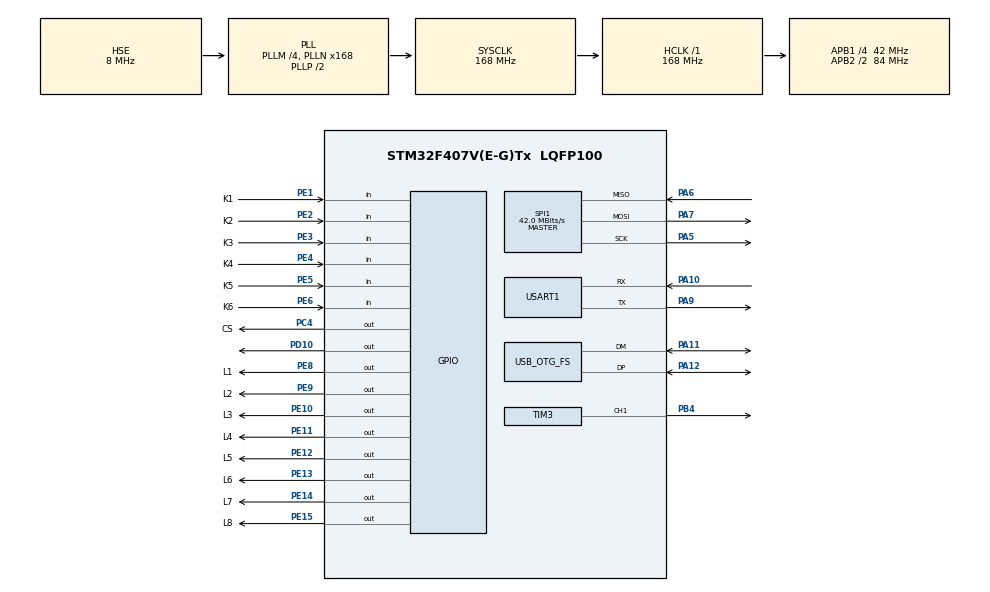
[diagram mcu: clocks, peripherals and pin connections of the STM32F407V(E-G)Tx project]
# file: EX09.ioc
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FATFS._MAX_SS=4096
FREERTOS.Tasks01=defaultTask,24,2048,StartDefaultTask,Default,NULL,Dynamic,NULL,NULL
Mcu.Family=STM32F4
Mcu.Name=STM32F407V(E-G)Tx
Mcu.Package=LQFP100
NVIC.OTG_FS_IRQn=true\:5\:0\:false\:false\:true\:true\:true\:true
NVIC.PriorityGroup=NVIC_PRIORITYGROUP_4
NVIC.TIM7_IRQn=true\:0\:0\:true\:false\:true\:false\:false\:true
NVIC.TimeBase=TIM7_IRQn
NVIC.TimeBaseIP=TIM7
NVIC.USART1_IRQn=true\:5\:0\:false\:false\:true\:true\:true\:true
PA10.Mode=Asynchronous
PA10.Signal=USART1_RX
PA11.Mode=Host_Only
PA11.Signal=USB_OTG_FS_DM
PA12.Mode=Host_Only
PA12.Signal=USB_OTG_FS_DP
PA13.Mode=Serial_Wire
PA13.Signal=SYS_JTMS-SWDIO
PA14.Mode=Serial_Wire
PA14.Signal=SYS_JTCK-SWCLK
PA5.Mode=Full_Duplex_Master
PA5.Signal=SPI1_SCK
PA6.Mode=Full_Duplex_Master
PA6.Signal=SPI1_MISO
PA7.Mode=Full_Duplex_Master
PA7.Signal=SPI1_MOSI
PA9.Mode=Asynchronous
PA9.Signal=USART1_TX
PB4.Signal=S_TIM3_CH1
PC4.GPIO_Label=CS
PC4.Signal=GPIO_Output
PD10.Signal=GPIO_Output
PE1.GPIO_Label=K1
PE1.Signal=GPIO_Input
PE10.GPIO_Label=L3
PE10.GPIO_ModeDefaultOutputPP=GPIO_MODE_OUTPUT_PP
PE10.GPIO_PuPd=GPIO_NOPULL
PE10.GPIO_Speed=GPIO_SPEED_FREQ_LOW
PE10.PinState=GPIO_PIN_SET
PE10.Signal=GPIO_Output
PE11.GPIO_Label=L4
PE11.GPIO_ModeDefaultOutputPP=GPIO_MODE_OUTPUT_PP
PE11.GPIO_PuPd=GPIO_NOPULL
PE11.GPIO_Speed=GPIO_SPEED_FREQ_LOW
PE11.PinState=GPIO_PIN_SET
PE11.Signal=GPIO_Output
PE12.GPIO_Label=L5
PE12.GPIO_ModeDefaultOutputPP=GPIO_MODE_OUTPUT_PP
PE12.GPIO_PuPd=GPIO_NOPULL
PE12.GPIO_Speed=GPIO_SPEED_FREQ_LOW
PE12.PinState=GPIO_PIN_SET
PE12.Signal=GPIO_Output
PE13.GPIO_Label=L6
PE13.GPIO_ModeDefaultOutputPP=GPIO_MODE_OUTPUT_PP
PE13.GPIO_PuPd=GPIO_NOPULL
PE13.GPIO_Speed=GPIO_SPEED_FREQ_LOW
PE13.PinState=GPIO_PIN_SET
PE13.Signal=GPIO_Output
PE14.GPIO_Label=L7
PE14.GPIO_ModeDefaultOutputPP=GPIO_MODE_OUTPUT_PP
PE14.GPIO_PuPd=GPIO_NOPULL
PE14.GPIO_Speed=GPIO_SPEED_FREQ_LOW
PE14.PinState=GPIO_PIN_SET
PE14.Signal=GPIO_Output
PE15.GPIO_Label=L8
PE15.GPIO_ModeDefaultOutputPP=GPIO_MODE_OUTPUT_PP
PE15.GPIO_PuPd=GPIO_NOPULL
PE15.GPIO_Speed=GPIO_SPEED_FREQ_LOW
PE15.PinState=GPIO_PIN_SET
PE15.Signal=GPIO_Output
PE2.GPIO_Label=K2
PE2.GPIO_PuPd=GPIO_PULLUP
PE2.Signal=GPIO_Input
PE3.GPIO_Label=K3
PE3.GPIO_PuPd=GPIO_PULLUP
PE3.Signal=GPIO_Input
PE4.GPIO_Label=K4
PE4.Signal=GPIO_Input
PE5.GPIO_Label=K5
PE5.GPIO_PuPd=GPIO_PULLDOWN
PE5.Signal=GPIO_Input
PE6.GPIO_Label=K6
PE6.GPIO_PuPd=GPIO_PULLDOWN
PE6.Signal=GPIO_Input
PE8.GPIO_Label=L1
PE8.GPIO_ModeDefaultOutputPP=GPIO_MODE_OUTPUT_PP
PE8.GPIO_PuPd=GPIO_NOPULL
PE8.GPIO_Speed=GPIO_SPEED_FREQ_LOW
PE8.PinState=GPIO_PIN_SET
PE8.Signal=GPIO_Output
PE9.GPIO_Label=L2
PE9.GPIO_ModeDefaultOutputPP=GPIO_MODE_OUTPUT_PP
PE9.GPIO_PuPd=GPIO_NOPULL
PE9.GPIO_Speed=GPIO_SPEED_FREQ_LOW
PE9.PinState=GPIO_PIN_SET
PE9.Signal=GPIO_Output
PH0-OSC_IN.Mode=HSE-External-Oscillator
PH0-OSC_IN.Signal=RCC_OSC_IN
PH1-OSC_OUT.Mode=HSE-External-Oscillator
PH1-OSC_OUT.Signal=RCC_OSC_OUT
ProjectManager.HeapSize=0x4000
ProjectManager.StackSize=0x4000
ProjectManager.TargetToolchain=MDK-ARM V5.27
RCC.48MHZClocksFreq_Value=48000000
RCC.AHBFreq_Value=168000000
RCC.APB1CLKDivider=RCC_HCLK_DIV4
RCC.APB1Freq_Value=42000000
RCC.APB1TimFreq_Value=84000000
RCC.APB2CLKDivider=RCC_HCLK_DIV2
RCC.APB2Freq_Value=84000000
RCC.APB2TimFreq_Value=168000000
RCC.CortexFreq_Value=168000000
RCC.HCLKFreq_Value=168000000
RCC.HSE_VALUE=8000000
RCC.HSI_VALUE=16000000
RCC.LSE_VALUE=32768
RCC.PLLM=4
RCC.PLLN=168
RCC.PLLQ=7
RCC.SYSCLKFreq_VALUE=168000000
RCC.SYSCLKSource=RCC_SYSCLKSOURCE_PLLCLK
RCC.VCOOutputFreq_Value=336000000
SH.S_TIM3_CH1.0=TIM3_CH1,PWM Generation1 CH1
SPI1.CalculateBaudRate=42.0 MBits/s
SPI1.Direction=SPI_DIRECTION_2LINES
SPI1.Mode=SPI_MODE_MASTER
SPI1.VirtualType=VM_MASTER
TIM3.AutoReloadPreload=TIM_AUTORELOAD_PRELOAD_DISABLE
TIM3.Channel-PWM\ Generation1\ CH1=TIM_CHANNEL_1
TIM3.Period=2000-1
TIM3.Prescaler=168-1
TIM3.Pulse-PWM\ Generation1\ CH1=1000
USART1.VirtualMode=VM_ASYNC
USB_HOST.BSP.number=1
USB_HOST.USBH_HandleTypeDef-MSC_FS=hUsbHostFS
USB_HOST.USBH_PROCESS_STACK_SIZE-MSC_FS=512
USB_HOST.VirtualModeFS=Msc
USB_HOST0.BSP.STBoard=false
USB_HOST0.BSP.api=Unknown
USB_HOST0.BSP.i2caddr=0
USB_HOST0.BSP.instance=PD10
USB_HOST0.BSP.ip=GPIO
USB_HOST0.BSP.mode=Output
USB_HOST0.BSP.name=Drive_VBUS_FS
USB_HOST0.BSP.solution=PD10
USB_OTG_FS.VirtualMode=Host_Only
USB_OTG_FS.phy_itface=HCD_PHY_EMBEDDED
VP_FATFS_VS_Generic.Mode=User_defined
VP_FATFS_VS_USB.Mode=USB
VP_FREERTOS_VS_CMSIS_V2.Mode=CMSIS_V2
VP_SYS_VS_tim7.Mode=TIM7
VP_TIM3_VS_ClockSourceINT.Mode=Internal
VP_USB_HOST_VS_USB_HOST_MSC_FS.Mode=MSC_FS
board=custom

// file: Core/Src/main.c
/* USER CODE BEGIN Header */
/**
  ******************************************************************************
  * @file           : main.c
  * @brief          : Main program body
  ******************************************************************************
  * @attention
  *
  * Copyright (c) 2021 STMicroelectronics.
  * All rights reserved.
  *
  * This software is licensed under terms that can be found in the LICENSE file
  * in the root directory of this software component.
  * If no LICENSE file comes with this software, it is provided AS-IS.
  *
  ******************************************************************************
  */
/* USER CODE END Header */
#include "main.h"
#include "cmsis_os.h"
#include "fatfs.h"
#include "spi.h"
#include "tim.h"
#include "usart.h"
#include "usb_host.h"
#include "gpio.h"

/* USER CODE BEGIN Includes */
#include "led.h"
#include "InFlash.h"
#include <stdio.h>
#include <stdlib.h>
#include <string.h>
#include "w25qxx.h"

/* USER CODE END Includes */

/* USER CODE BEGIN PD */
#include <stdio.h>
int fputc(int ch, FILE *f)
{
	// 向串口 1 发送一个字符
	HAL_UART_Transmit(&huart1, (uint8_t *)&ch, 1, 100);
	return 0;
}

/* USER CODE END PD */

/* USER CODE BEGIN PV */

//#define USER_APP_ADDR		ADDR_FLASH_SECTOR_6
//#define MAX_RECV_LEN 10000
//uint8_t rx1_buff[MAX_RECV_LEN] = {0};
//uint8_t *pBuf;
//uint8_t line_flag = 0;
//uint32_t recv_tick = 0;

//uint32_t update_tick = 0;
/* USER CODE END PV */

void SystemClock_Config(void);
void MX_FREERTOS_Init(void);

/* USER CODE BEGIN 0 */

void TestW25Q128(void)
{
	uint8_t dat[4096] = "1234567890-1234567890-1234567890-1234567890-1234567890-\0";
	uint8_t read_buf[4096] = {0};
	uint16_t i;
	uint16_t *pDat = (uint16_t *)dat;
	for(i=0;i<sizeof(dat)/2;++i)
	{
		pDat[i] = i*i;
	}

	W25QXX_Init();
	uint16_t device_id = W25QXX_ReadID();
	printf("device_id = 0x%04X\n\r",device_id);

	HAL_Delay(500);

	int j=0;
	uint32_t addr = 0;
	for(j=0;j<1;j++)
	{
		addr = 0x1000 * j;
		// 读扇区
		printf("Read data before write\n\r");
		memset(read_buf,0,sizeof(read_buf));
		W25QXX_Read(read_buf,addr,sizeof(read_buf));
		printf("read data if:\n\r");
		for(i=0;i<sizeof(read_buf);++i)
		{
			printf("%02X ",read_buf[i]);
		}
		printf("\n\r");
		HAL_Delay(20);

		//撤除该扇区
		printf("Erase sector %d\n\r",addr / 0x1000);
		W25QXX_Erase_Sector(addr);
		HAL_Delay(20);

		//写数据
		printf("Write data\n\r");
		W25QXX_Write(dat,addr,sizeof(dat));
		HAL_Delay(20);

		//再次读数据
		printf("Read data after write\n\r");
		memset(read_buf,0,sizeof(dat));
		W25QXX_Read(read_buf,addr,sizeof(read_buf));
		printf("read data is:\n\r");
		for(i=0;i<sizeof(read_buf);++i)
		{
			printf("%02X ",read_buf[i]);
		}
		printf("\n\r");
		HAL_Delay(20);

		uint8_t chkok = 1;
		for(i=0;i<sizeof(dat);++i)
		{
			if(dat[i] != read_buf[i])
			{
				chkok = 0;
				break;
			}
		}
		printf("sector %d write %s!\n\r", addr/0x1000,chkok?"ok":"error");
		if(!chkok)
			break;
	}

}
void fs_test(void)
{
	BYTE work[4096];
	FATFS fs;
	FIL fil;
	FRESULT res;
	UINT i;
	BYTE mm[500];

	res = f_mount(&fs,"0:",1);
	if(res == 0x0D)
	{
		printf("Flash Disk Formatting...\n\r");  //格式化FLASH
		res = f_mkfs("0:",FM_ANY,0,work,sizeof(work));
		if(res != FR_OK)
			printf("mkfs error.\n\r");
	}
	if(res == FR_OK)
		printf("FATFS Init ok!\n\r");

	res = f_open(&fil,"0:/test.txt",FA_CREATE_NEW);
	if(res != FR_OK && res != FR_EXIST)
		printf("create file error.\n\r");
	if(res == FR_EXIST)
		res = f_open(&fil,"0:/test.txt",FA_WRITE|FA_READ|FA_OPEN_APPEND);
	if(res != FR_OK)
		printf("open file error.\n\r");
	else
	{
		printf("open file ok.\n\r");
		f_puts("Hello,World\n\r你好世界\n\r",&fil);
		printf("file size:%ld Bytes.\n\r",f_size(&fil));

		memset(mm,0x0,500);
		f_lseek(&fil,0);
		res = f_read(&fil,mm,500,&i);
		if(res == FR_OK)
			printf("read size:%d Bytes.\n\r%s",i,mm);
		else
			printf("read error!\n\r");

		f_close(&fil);
	}
	/*卸载文件系统*/
	f_mount(0,"0:",0);
}

void InitFS(uint8_t breset)
{
	BYTE work[4096];
	FATFS fs;
	FIL fil;
	FRESULT res;

	res = f_mount(&fs,"0:",1);
	if(res == 0x0D)
	{
		printf("Flash Disk Formatting...\n\r");  //格式化FLASH
		res = f_mkfs("0:",FM_ANY,0,work,sizeof(work));
		if(res != FR_OK)
			printf("mkfs error.\n\r");
	}
	if(res == FR_OK)
		printf("FATFS Init ok!\n\r");
	if(breset)
		res = f_open(&fil,"0:/alarm.txt",FA_CREATE_ALWAYS);
	else
		res = f_open(&fil,"0:/alarm.txt",FA_CREATE_NEW);
	if(res != FR_OK && res != FR_EXIST)
		printf("create file error.\n\r");
	else
	{
		printf("create alarm.txt ok\n\r");
		f_close(&fil);
	}

	if(breset)
		res = f_open(&fil,"0:/para.txt",FA_CREATE_ALWAYS);
	else
		res = f_open(&fil,"0:/para.txt",FA_CREATE_NEW);
	if(res != FR_OK && res != FR_EXIST)
		printf("create file error.\n\r");
	else
	{
		printf("create para.txt ok\n\r");
		f_close(&fil);
	}
}

/* USER CODE END 0 */

int main(void)
{

  /* MCU Configuration--------------------------------------------------------*/

  /* Reset of all peripherals, Initializes the Flash interface and the Systick. */
  HAL_Init();

  /* Configure the system clock */
  SystemClock_Config();

  /* Initialize all configured peripherals */
  MX_GPIO_Init();
  MX_TIM3_Init();
  MX_USART1_UART_Init();
  MX_SPI1_Init();
  MX_FATFS_Init();
  /* USER CODE BEGIN 2 */
//	HAL_Delay(1000);
//	TestW25Q128();
//	fs_test();
//	InitFS(1);
  /* USER CODE END 2 */

  /* Init scheduler */
  osKernelInitialize();  /* Call init function for freertos objects (in freertos.c) */
  MX_FREERTOS_Init();
  /* Start scheduler */
  osKernelStart();

  /* We should never get here as control is now taken by the scheduler */
  /* Infinite loop */
  /* USER CODE BEGIN WHILE */
//	uint32_t tick2 = HAL_GetTick();
//	uint8_t key = 0;
//	HAL_Delay(100);
//	printf("Bootloader...PRESS K5 TO UPDATE APP.\n\r");
//

  while (1)
  {
    /* USER CODE END WHILE */

    /* USER CODE BEGIN 3 */

//		key = Key_scan();
//
//		//串口函数
//		if(0 == update_tick && HAL_GetTick() >= tick2 + 10*1000)
//		{
//			printf("Jump to app...");
//			JumpAPP(ADDR_FLASH_SECTOR_6);
//		}
//
//		if(update_tick > 0 && HAL_GetTick() >= update_tick + 10 * 1000)
//		{
//			printf("exit update mode.\r\n");
//			pBuf = rx1_buff;
//
//			recv_tick = 0;
//			update_tick = 0;
//			tick2 = HAL_GetTick();
//
//			HAL_UART_AbortReceive_IT(&huart1);
//		}
//
//		if(recv_tick > 0 && HAL_GetTick() >= recv_tick + 500)
//		{
//			if(update_tick > 0)
//			{
//				printf("receive end.\r\n");
//				HAL_UART_AbortReceive_IT(&huart1);
//
//				pBuf = rx1_buff;
////				printf("%s\r\n",rx1_buff);
//
//				recv_tick = 0;
//				update_tick = 0;
//				tick2 = HAL_GetTick();

////
////				//写入APP
//				WriteFlash(rx1_buff,(uint8_t *)ADDR_FLASH_SECTOR_6,100000);
////				//跳转APP
//				JumpAPP(ADDR_FLASH_SECTOR_6);
//				}
//			}
//
//
//
//
//		if(key == 5){
//			update_tick = HAL_GetTick();
//			recv_tick = 0;
//			pBuf = rx1_buff;
//			HAL_UART_Receive_IT(&huart1, pBuf, 1);
//			printf("Start receive bin file...\r\n");
//		}
//
//		if(key == 2){
//			printf("JUMP TO APPA\r\n");
//			JumpAPP(ADDR_FLASH_SECTOR_6);
//		}
//
		HAL_Delay(20);
  }
  /* USER CODE END 3 */
}

void SystemClock_Config(void)
{
  RCC_OscInitTypeDef RCC_OscInitStruct = {0};
  RCC_ClkInitTypeDef RCC_ClkInitStruct = {0};

  /** Configure the main internal regulator output voltage
  */
  __HAL_RCC_PWR_CLK_ENABLE();
  __HAL_PWR_VOLTAGESCALING_CONFIG(PWR_REGULATOR_VOLTAGE_SCALE1);
  /** Initializes the RCC Oscillators according to the specified parameters
  * in the RCC_OscInitTypeDef structure.
  */
  RCC_OscInitStruct.OscillatorType = RCC_OSCILLATORTYPE_HSE;
  RCC_OscInitStruct.HSEState = RCC_HSE_ON;
  RCC_OscInitStruct.PLL.PLLState = RCC_PLL_ON;
  RCC_OscInitStruct.PLL.PLLSource = RCC_PLLSOURCE_HSE;
  RCC_OscInitStruct.PLL.PLLM = 4;
  RCC_OscInitStruct.PLL.PLLN = 168;
  RCC_OscInitStruct.PLL.PLLP = RCC_PLLP_DIV2;
  RCC_OscInitStruct.PLL.PLLQ = 7;
  if (HAL_RCC_OscConfig(&RCC_OscInitStruct) != HAL_OK)
  {
    Error_Handler();
  }
  /** Initializes the CPU, AHB and APB buses clocks
  */
  RCC_ClkInitStruct.ClockType = RCC_CLOCKTYPE_HCLK|RCC_CLOCKTYPE_SYSCLK
                              |RCC_CLOCKTYPE_PCLK1|RCC_CLOCKTYPE_PCLK2;
  RCC_ClkInitStruct.SYSCLKSource = RCC_SYSCLKSOURCE_PLLCLK;
  RCC_ClkInitStruct.AHBCLKDivider = RCC_SYSCLK_DIV1;
  RCC_ClkInitStruct.APB1CLKDivider = RCC_HCLK_DIV4;
  RCC_ClkInitStruct.APB2CLKDivider = RCC_HCLK_DIV2;

  if (HAL_RCC_ClockConfig(&RCC_ClkInitStruct, FLASH_LATENCY_5) != HAL_OK)
  {
    Error_Handler();
  }
}

/* USER CODE BEGIN 4 */
//void HAL_UART_RxCpltCallback(UART_HandleTypeDef *UartHandle)
//{
//	if(UartHandle->Instance == USART1)
//	{
//		pBuf++;
//		if(pBuf == rx1_buff + MAX_RECV_LEN)
//			pBuf = rx1_buff;

//		recv_tick = HAL_GetTick();
//		if(update_tick > 0)
//			update_tick = recv_tick;

//
//		__HAL_UNLOCK(UartHandle);
//		HAL_UART_Receive_IT(UartHandle, pBuf, 1);
//	}
//}

/* USER CODE END 4 */

void HAL_TIM_PeriodElapsedCallback(TIM_HandleTypeDef *htim)
{
  if (htim->Instance == TIM7) {
    HAL_IncTick();
  }
}

void Error_Handler(void)
{
  __disable_irq();
  while (1)
  {
  }
}

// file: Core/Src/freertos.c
/* USER CODE BEGIN Header */
/**
  ******************************************************************************
  * File Name          : freertos.c
  * Description        : Code for freertos applications
  ******************************************************************************
  * @attention
  *
  * Copyright (c) 2021 STMicroelectronics.
  * All rights reserved.
  *
  * This software is licensed under terms that can be found in the LICENSE file
  * in the root directory of this software component.
  * If no LICENSE file comes with this software, it is provided AS-IS.
  *
  ******************************************************************************
  */
/* USER CODE END Header */

#include "FreeRTOS.h"
#include "task.h"
#include "main.h"
#include "cmsis_os.h"

/* USER CODE BEGIN Includes */
#include "led.h"
#include "InFlash.h"
#include <stdio.h>
#include <stdlib.h>
#include <string.h>
#include "w25qxx.h"
#include "fatfs.h"
#include "spi.h"
#include "tim.h"
#include "usart.h"
#include "gpio.h"
/* USER CODE END Includes */

/* USER CODE BEGIN Variables */
#define USER_APP_ADDR		ADDR_FLASH_SECTOR_6
#define MAX_RECV_LEN 10000

uint8_t rx1_buff[MAX_RECV_LEN] = {0};
uint8_t bin_buff[MAX_RECV_LEN] = {0};

uint8_t *pBuf;
uint8_t line_flag = 0;
uint32_t recv_tick = 0;

uint32_t update_tick = 0;
/* USER CODE END Variables */
/* Definitions for defaultTask */
osThreadId_t defaultTaskHandle;
const osThreadAttr_t defaultTask_attributes = {
  .name = "defaultTask",
  .stack_size = 2048 * 4,
  .priority = (osPriority_t) osPriorityNormal,
};

/* USER CODE BEGIN FunctionPrototypes */

void HAL_UART_RxCpltCallback(UART_HandleTypeDef *UartHandle);

FRESULT TestFatFs(FATFS *pfs,FIL *pfil,char *path);//文件操作测试函数
FRESULT GetAppFileFlag(FATFS *pfs,FIL *pfil,char *path);//文件操作测试函数
uint8_t APP_Compare(FATFS *pfs,FIL *pfil,char *path);

/* USER CODE END FunctionPrototypes */

void StartDefaultTask(void *argument);

extern void MX_USB_HOST_Init(void);
void MX_FREERTOS_Init(void); /* (MISRA C 2004 rule 8.1) */

void MX_FREERTOS_Init(void) {

  /* Create the thread(s) */
  /* creation of defaultTask */
  defaultTaskHandle = osThreadNew(StartDefaultTask, NULL, &defaultTask_attributes);

}

void StartDefaultTask(void *argument)
{
  /* init code for USB_HOST */
  MX_USB_HOST_Init();
  /* USER CODE BEGIN StartDefaultTask */
	uint32_t tick2 = osKernelGetTickCount();
	uint8_t key = 0;
	uint8_t flag = 0;
	uint8_t flag2 = 0;

	osDelay(500);
	printf("Start to Search bin file...\r\n");
	retUSBH = GetAppFileFlag(&USBHFatFS,&USBHFile,USBHPath);
	osDelay(200);
//	ReadFlash(rx1_buff,(uint8_t *)ADDR_FLASH_SECTOR_6,50000);

	osDelay(200);

//	printf("Bootloader...PRESS K5 TO UPDATE APP.\n\r");

  /* Infinite loop */
  for(;;)
  {
		key = Key_scan();

		if(retUSBH == FR_OK && flag2)
		{
			printf("APP.BIN EXIST...\r\n");   //说明存在BIN
			osDelay(200);

			flag = APP_Compare(&USBHFatFS,&USBHFile,USBHPath);
			osDelay(200);

			if(flag)
			{
				printf("\r\n");
				printf("NOT SAME!!!\r\n");
				printf("JUNP TO APP B\r\n");

				WriteFlash(bin_buff,(uint8_t *)ADDR_FLASH_SECTOR_6,50000);
				JumpAPP(ADDR_FLASH_SECTOR_6);

			}
			else
			{
				printf("\r\n");
				printf("SAME!!!\r\n");
				printf("JUNP TO APP A\r\n");
				JumpAPP(ADDR_FLASH_SECTOR_6);
			}
		}

//		if(key == 2)
//		{
//			printf("JUMP TO APP...\r\n");
//			JumpAPP(ADDR_FLASH_SECTOR_6);
//		}

//    osDelay(10000);

		//串口函数
//		if(0 == update_tick && HAL_GetTick() >= tick2 + 10*1000)
//		{
//			printf("Jump to app...");
//			JumpAPP(ADDR_FLASH_SECTOR_6);
//		}
//
		if(update_tick > 0 && HAL_GetTick() >= update_tick + 10 * 1000)
		{
			printf("exit update mode.\r\n");
			pBuf = rx1_buff;

			recv_tick = 0;
			update_tick = 0;
			tick2 = HAL_GetTick();

			HAL_UART_AbortReceive_IT(&huart1);
		}

		if(recv_tick > 0 && HAL_GetTick() >= recv_tick + 500)
		{
			if(update_tick > 0)
			{
				printf("receive end.\r\n");
				HAL_UART_AbortReceive_IT(&huart1);

				pBuf = rx1_buff;
//				printf("%s\r\n",rx1_buff);

				recv_tick = 0;
				update_tick = 0;
				tick2 = HAL_GetTick();

        flag2 = 1;

//
				//写入APP
				WriteFlash(rx1_buff,(uint8_t *)ADDR_FLASH_SECTOR_6,10000);
////				//跳转APP
//				JumpAPP(ADDR_FLASH_SECTOR_6);
				}
			}

		if(key == 5){
			update_tick = HAL_GetTick();
			recv_tick = 0;
			pBuf = rx1_buff;
			HAL_UART_Receive_IT(&huart1, pBuf, 1);
			printf("Start receive bin file...\r\n");
		}

		if(key == 2){
			osDelay(200);
			WriteFlash(rx1_buff,(uint8_t *)ADDR_FLASH_SECTOR_6,10000);
			printf("JUMP TO APPA\r\n");
			JumpAPP(ADDR_FLASH_SECTOR_6);
		}

    osDelay(10);
  }
  /* USER CODE END StartDefaultTask */
}

/* USER CODE BEGIN Application */
void HAL_UART_RxCpltCallback(UART_HandleTypeDef *UartHandle)
{
	if(UartHandle->Instance == USART1)
	{
		pBuf++;
		if(pBuf == rx1_buff + MAX_RECV_LEN)
			pBuf = rx1_buff;

		recv_tick = HAL_GetTick();
		if(update_tick > 0)
			update_tick = recv_tick;

		__HAL_UNLOCK(UartHandle);
		HAL_UART_Receive_IT(UartHandle, pBuf, 1);
	}
}

FRESULT TestFatFs(FATFS *pfs,FIL *pfil,char *path)//文件操作测试函数
{
	BYTE work[4096];
	char filename[128];//文件路径名
	FRESULT res;//文件操作结果

	res=f_mount(pfs,path,1);//立即挂载文件系统
	if(res == FR_OK)
		printf("FATFS Init ok!\n");
	else{
		printf("FATFS Init error%d\n",res);//初始化失败，直接返回
		return res;
	}
	//打开TEST.TXT文件进行读写
	sprintf(filename,"%sapp.bin",path);//设置文件绝对路径
	res = f_open(pfil,filename,FA_OPEN_ALWAYS|FA_WRITE|FA_READ|FA_OPEN_APPEND);
	if(res!=FR_OK)	printf("open file error.\n");
	else{
		printf("open file ok.\n");
		f_puts("Hello,world!\n你好世界\n",pfil);//写入两行字符串

		printf("file size:%d Bytes.\n",(int)f_size(pfil));

		UINT br;	//	临时变量
		f_lseek(pfil,0);//定位到文件头，准备读取数据
		memset(work,0x0,sizeof(work));
		res = f_read(pfil,work,sizeof(work),&br);
		if(res==FR_OK)	printf("read size:%d Byte.\n%s",br,work);

		else	printf("read error!\r\n");
		f_close(pfil);//使用完毕关文件
	}
	res = f_mount(0,path,0);//测试结束，卸载文件系统
	return res;

}

FRESULT GetAppFileFlag(FATFS *pfs,FIL *pfil,char *path)//文件操作测试函数
{
//	BYTE work[4096];
//	BYTE work2[4096];
	char filename[128];//文件路径名
	FRESULT res;//文件操作结果

	res=f_mount(pfs,path,1);//立即挂载文件系统
	if(res == FR_OK)
		printf("FATFS Init ok!\n");
	else{
		printf("FATFS Init error%d\n",res);//初始化失败，直接返回
		return res;
	}
	//打开TEST.TXT文件进行读写
	sprintf(filename,"%sapp.bin",path);//设置文件绝对路径
	res = f_open(pfil,filename,FA_WRITE|FA_READ);
	if(res!=FR_OK)
		{
			printf("NO APP.BIN FILE!!!\r\n");
			printf("JUMP TO APP...\r\n");
			osDelay(500);
			JumpAPP(ADDR_FLASH_SECTOR_6);
		}
	else{

//		UINT br,br2;	//	临时变量
//		f_lseek(pfil,0);//定位到文件头，准备读取数据
//		memset(work,0x0,sizeof(work));
//		memset(work2,0x0,sizeof(work2));
//		res = f_read(pfil,work,sizeof(work),&br);
//		if(res==FR_OK)	printf("read size:%d Byte.\n%s",br,work);
//
//		else	printf("read error!\r\n");
//
//		res = f_read(pfil,work2,sizeof(work2),&br2);
//		if(res==FR_OK)	printf("read size:%d Byte.\n%s",br2,work2);
//
//		else	printf("read error!\r\n");

		f_close(pfil);//使用完毕关文件
	}
	res = f_mount(0,path,0);//测试结束，卸载文件系统
	return res;

}

uint8_t APP_Compare(FATFS *pfs,FIL *pfil,char *path)//文件操作测试函数
{
//	BYTE work[4096];
//	BYTE work2[4096];
	uint8_t flag = 0;
	char filename[128];//文件路径名
	FRESULT res;//文件操作结果

	res=f_mount(pfs,path,1);//立即挂载文件系统
	if(res == FR_OK)
		printf("FATFS Init ok!\n");
	else{
		printf("FATFS Init error%d\n",res);//初始化失败，直接返回
		return res;
	}
	//打开TEST.TXT文件进行读写
	sprintf(filename,"%sapp.bin",path);//设置文件绝对路径
	res = f_open(pfil,filename,FA_WRITE|FA_READ);
	if(res!=FR_OK)
		{
			printf("open file error!!!\r\n");
		}
	else{
		printf("ENTER UPDATE MODE...\n\r");

		printf("APP.BIN file size:%d Bytes.\n\r",(int)f_size(pfil));

		osDelay(200);

		UINT br,br2;	//	临时变量
		uint16_t count = 10000;
		f_lseek(pfil,0);//定位到文件头，准备读取数据

//		memset(work,0x0,sizeof(work));
//		memset(work2,0x0,sizeof(work2));

		res = f_read(pfil,bin_buff,sizeof(bin_buff),&br);
		if(res==FR_OK)	printf("read size:%d Byte.\n\r",br);
		else	printf("read error!\r\n");

//		res = f_read(pfil,work,sizeof(work),&br);
//		if(res==FR_OK)	printf("read size:%d Byte.\n%s",br,work);
//		else	printf("read error!\r\n");
//
//		res = f_read(pfil,work2,sizeof(work2),&br2);
//		if(res==FR_OK)	printf("read size:%d Byte.\n%s",br2,work2);
//		else	printf("read error!\r\n");

		for(count = 0; count <br; count++)
		{
			if(rx1_buff[count] != bin_buff[count])
			{
				flag = 1;
				return flag;
			}
			else	flag = 0;
//			if(count<br)
//			{
//				if(rx1_buff[count] != work[count])
//				{
//					flag = 1;
//					return flag;
//				}
//
//			}
//			else
//			{
//				if(rx1_buff[count] != work[count-br])
//				{
//					flag = 1;
//					return flag;
//				}
//			}
		}

		f_close(pfil);//使用完毕关文件
	}
	res = f_mount(0,path,0);//测试结束，卸载文件系统
	return flag;

}

/* USER CODE END Application */
